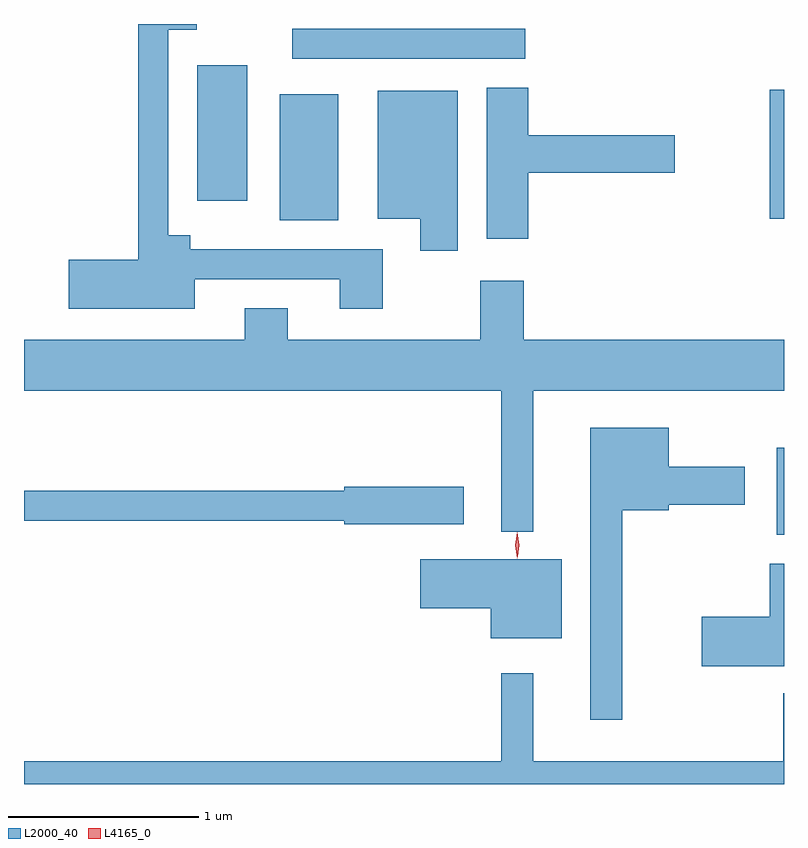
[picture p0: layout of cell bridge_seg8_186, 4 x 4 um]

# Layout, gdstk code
import gdstk
lib = gdstk.Library(unit=1e-6, precision=1e-09)
def R(c, l, rs):  # rectangles x0, y0, x1, y1
    for r in rs: c.add(gdstk.rectangle(r[:2], r[2:], *l))
def P(c, l, *ps):  # polygons
    for p in ps: c.add(gdstk.Polygon(p, *l))
L2000_40 = (2000, 40)
L4165_0 = (4165, 0)

bridge_seg8_186 = lib.new_cell('bridge_seg8_186')
R(bridge_seg8_186, L2000_40, [(1092.221,1935.556,1092.26,1936.014), (1089.606,1937.211,1089.914,1937.874), (1092.186,1937.221,1092.26,1937.899), (1089.171,1937.316,1089.434,1938.029), (1089.673,1938.061,1090.898,1938.219)])
P(bridge_seg8_186, L2000_40, [(1089.159,1936.901),(1089.921,1936.901),(1089.921,1936.746),(1090.149,1936.746),(1090.149,1937.059),(1089.134,1937.059),(1089.134,1937.134),(1089.019,1937.134),(1089.019,1938.216),(1089.168,1938.216),(1089.168,1938.245),(1088.861,1938.245),(1088.861,1937.004),(1088.496,1937.004),(1088.496,1936.746),(1089.159,1936.746)],
  [(1090.914,1937.461),(1091.684,1937.461),(1091.684,1937.659),(1090.914,1937.659),(1090.914,1937.909),(1090.696,1937.909),(1090.696,1937.116),(1090.914,1937.116)],
  [(1090.544,1937.894),(1090.121,1937.894),(1090.121,1937.221),(1090.346,1937.221),(1090.346,1937.051),(1090.544,1937.051)],
  [(1090.939,1936.316),(1092.26,1936.316),(1092.26,1936.584),(1090.889,1936.584),(1090.889,1936.894),(1090.661,1936.894),(1090.661,1936.584),(1089.649,1936.584),(1089.649,1936.749),(1089.421,1936.749),(1089.421,1936.584),(1088.26,1936.584),(1088.26,1936.316),(1090.771,1936.316),(1090.771,1935.573),(1090.939,1935.573)],
  [(1091.409,1935.686),(1091.654,1935.686),(1091.654,1935.716),(1092.054,1935.716),(1092.054,1935.914),(1091.654,1935.914),(1091.654,1936.119),(1091.241,1936.119),(1091.241,1934.583),(1091.409,1934.583)],
  [(1090.574,1935.809),(1089.946,1935.809),(1089.946,1935.789),(1088.26,1935.789),(1088.26,1935.631),(1089.946,1935.631),(1089.946,1935.611),(1090.574,1935.611)],
  [(1091.089,1935.429),(1090.346,1935.429),(1090.346,1935.171),(1090.716,1935.171),(1090.716,1935.011),(1091.089,1935.011)],
  [(1092.26,1935.404),(1092.186,1935.404),(1092.186,1935.124),(1091.826,1935.124),(1091.826,1934.866),(1092.26,1934.866)],
  [(1092.26,1934.723),(1092.256,1934.723),(1092.256,1934.364),(1090.939,1934.364),(1090.939,1934.828),(1090.771,1934.828),(1090.771,1934.364),(1088.26,1934.364),(1088.26,1934.245),(1092.26,1934.245)])
P(bridge_seg8_186, L4165_0, [(1090.857,1935.44),(1090.856,1935.441),(1090.847,1935.504),(1090.856,1935.566),(1090.856,1935.567),(1090.857,1935.566),(1090.866,1935.504),(1090.858,1935.441)],
  [(1090.856,1935.434),(1090.846,1935.502),(1090.856,1935.57),(1090.856,1935.57),(1090.857,1935.57),(1090.866,1935.502),(1090.857,1935.434),(1090.857,1935.434)])

lib.write_gds('bridge_seg8_186.gds')
